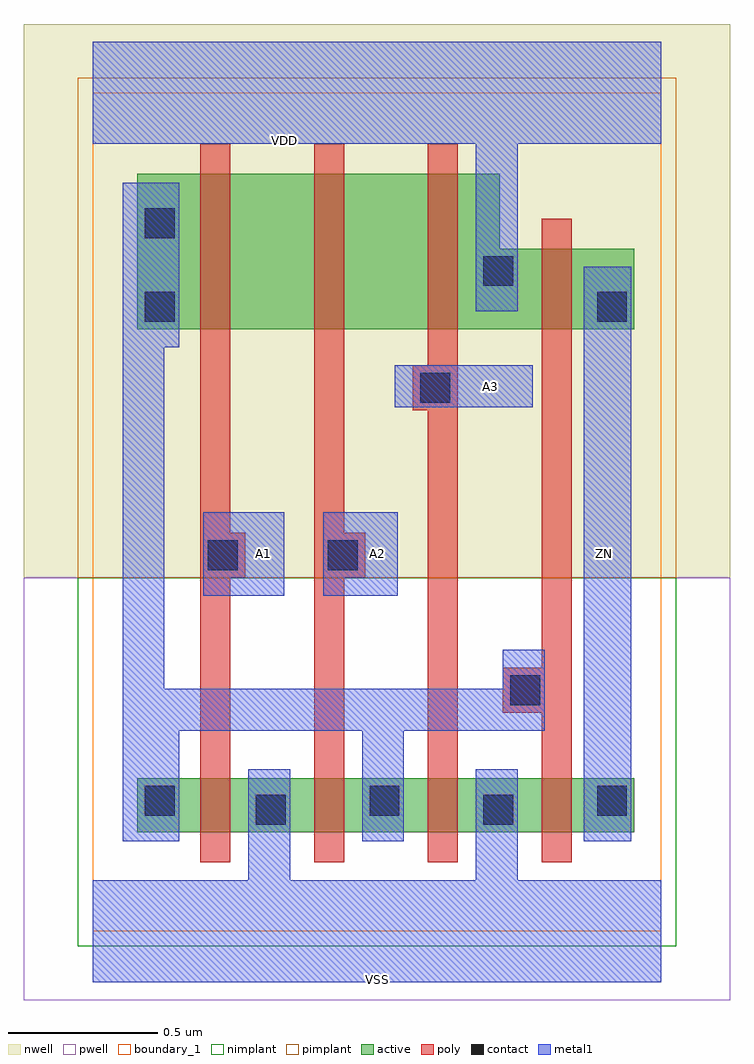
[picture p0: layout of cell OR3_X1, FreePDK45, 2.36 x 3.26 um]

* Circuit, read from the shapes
.subckt OR3_X1 A1 A2 A3 VDD VSS ZN
M1 VSS A1 n1 VSUBS nfet w=0.18u l=0.1u
M2 n1 A2 VSS VSUBS nfet w=0.18u l=0.1u
M3 VSS A3 n1 VSUBS nfet w=0.18u l=0.1u
M4 ZN n1 VSS VSUBS nfet w=0.18u l=0.1u
M5 n2 A1 n1 n3 pfet w=0.52u l=0.1u
M6 n4 A2 n2 n3 pfet w=0.52u l=0.1u
M7 VDD A3 n4 n3 pfet w=0.52u l=0.1u
M8 ZN n1 VDD n3 pfet w=0.27u l=0.1u
.ends

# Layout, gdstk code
import gdstk
lib = gdstk.Library(unit=1e-6, precision=1e-09)
def R(c, l, rs):  # rectangles x0, y0, x1, y1
    for r in rs: c.add(gdstk.rectangle(r[:2], r[2:], *l))
def P(c, l, *ps):  # polygons
    for p in ps: c.add(gdstk.Polygon(p, *l))
active = (1, 0)
pwell = (2, 0)
nwell = (3, 0)
nimplant = (4, 0)
pimplant = (5, 0)
poly = (9, 0)
contact = (10, 0)
metal1 = (11, 0)
boundary_1 = (235, 1)

or3_x1 = lib.new_cell('OR3_X1')
R(or3_x1, active, [(0.15,0.33,1.81,0.51)])
P(or3_x1, active, [(0.15,2.01),(1.81,2.01),(1.81,2.28),(1.36,2.28),(1.36,2.53),(0.15,2.53)])
R(or3_x1, pwell, [(-0.23,-0.23,2.13,1.18)])
R(or3_x1, nwell, [(-0.23,1.18,2.13,3.03)])
R(or3_x1, nimplant, [(-0.05,-0.05,1.95,1.18)])
R(or3_x1, pimplant, [(-0.05,1.18,1.95,2.85)])
P(or3_x1, poly, [(1.37,0.73),(1.5,0.73),(1.5,0.23),(1.6,0.23),(1.6,2.38),(1.5,2.38),(1.5,0.88),(1.37,0.88)],
  [(1.07,1.74),(1.12,1.74),(1.12,0.23),(1.22,0.23),(1.22,2.63),(1.12,2.63),(1.12,1.89),(1.07,1.89)],
  [(0.74,0.23),(0.84,0.23),(0.84,1.18),(0.91,1.18),(0.91,1.33),(0.84,1.33),(0.84,2.63),(0.74,2.63)],
  [(0.36,0.23),(0.46,0.23),(0.46,1.18),(0.51,1.18),(0.51,1.33),(0.46,1.33),(0.46,2.63),(0.36,2.63)])
R(or3_x1, contact, [(0.545,0.355,0.645,0.455), (1.305,0.355,1.405,0.455), (0.175,0.385,0.275,0.485), (0.925,0.385,1.025,0.485), (1.685,0.385,1.785,0.485), (1.395,0.755,1.495,0.855), (0.385,1.205,0.485,1.305), (0.785,1.205,0.885,1.305), (1.095,1.765,1.195,1.865), (0.175,2.035,0.275,2.135), (1.685,2.035,1.785,2.135), (1.305,2.155,1.405,2.255), (0.175,2.315,0.275,2.415)])
R(or3_x1, metal1, [(1.64,0.3,1.8,2.22), (1.64,0.3,1.8,2.22), (0.37,1.12,0.64,1.4), (0.37,1.12,0.64,1.4), (0.77,1.12,1.02,1.4), (0.77,1.12,1.02,1.4), (1.01,1.75,1.47,1.89), (1.01,1.75,1.47,1.89)])
P(or3_x1, metal1, [(0,-0.17),(1.9,-0.17),(1.9,0.17),(1.42,0.17),(1.42,0.54),(1.28,0.54),(1.28,0.17),(0.66,0.17),(0.66,0.54),(0.52,0.54),(0.52,0.17),(0,0.17)],
  [(0,2.63),(1.28,2.63),(1.28,2.07),(1.42,2.07),(1.42,2.63),(1.9,2.63),(1.9,2.97),(0,2.97)],
  [(0,2.63),(1.28,2.63),(1.28,2.07),(1.42,2.07),(1.42,2.63),(1.9,2.63),(1.9,2.97),(0,2.97)],
  [(0,-0.17),(1.9,-0.17),(1.9,0.17),(1.42,0.17),(1.42,0.54),(1.28,0.54),(1.28,0.17),(0.66,0.17),(0.66,0.54),(0.52,0.54),(0.52,0.17),(0,0.17)],
  [(0.1,0.3),(0.29,0.3),(0.29,0.67),(0.9,0.67),(0.9,0.3),(1.04,0.3),(1.04,0.67),(1.51,0.67),(1.51,0.94),(1.37,0.94),(1.37,0.81),(0.24,0.81),(0.24,1.95),(0.29,1.95),(0.29,2.5),(0.1,2.5)])
R(or3_x1, boundary_1, [(0,0,1.9,2.8)])
or3_x1.add(gdstk.Label('ZN', (1.71,1.26), layer=11, texttype=0))
or3_x1.add(gdstk.Label('VSS', (0.95,-0.16), layer=11, texttype=0))
or3_x1.add(gdstk.Label('VDD', (0.64,2.64), layer=11, texttype=0))
or3_x1.add(gdstk.Label('A3', (1.33,1.82), layer=11, texttype=0))
or3_x1.add(gdstk.Label('A2', (0.95,1.26), layer=11, texttype=0))
or3_x1.add(gdstk.Label('A1', (0.57,1.26), layer=11, texttype=0))

lib.write_gds('OR3_X1.gds')
